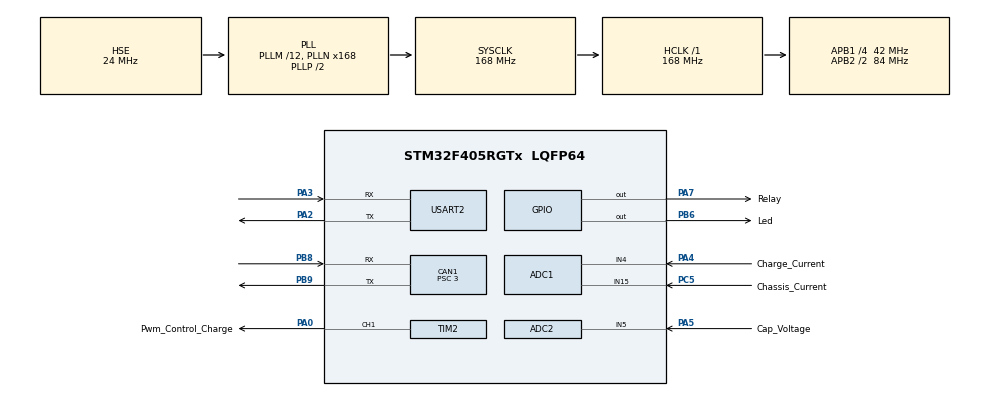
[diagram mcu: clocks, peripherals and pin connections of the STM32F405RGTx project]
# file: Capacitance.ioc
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ADC1.Channel-0\#ChannelRegularConversion=ADC_CHANNEL_4
ADC1.Channel-1\#ChannelRegularConversion=ADC_CHANNEL_15
ADC1.ClockPrescaler=ADC_CLOCK_SYNC_PCLK_DIV4
ADC1.ContinuousConvMode=DISABLE
ADC1.DMAContinuousRequests=ENABLE
ADC1.ExternalTrigConv=ADC_EXTERNALTRIGCONV_T3_TRGO
ADC1.NbrOfConversion=2
ADC1.NbrOfConversionFlag=1
ADC1.Rank-0\#ChannelRegularConversion=1
ADC1.Rank-1\#ChannelRegularConversion=2
ADC1.SamplingTime-0\#ChannelRegularConversion=ADC_SAMPLETIME_15CYCLES
ADC1.SamplingTime-1\#ChannelRegularConversion=ADC_SAMPLETIME_15CYCLES
ADC1.ScanConvMode=ENABLE
ADC1.master=1
ADC2.Channel-0\#ChannelRegularConversion=ADC_CHANNEL_5
ADC2.ClockPrescaler=ADC_CLOCK_SYNC_PCLK_DIV4
ADC2.DMAContinuousRequests=ENABLE
ADC2.ExternalTrigConv=ADC_EXTERNALTRIGCONV_T8_TRGO
ADC2.NbrOfConversionFlag=1
ADC2.Rank-0\#ChannelRegularConversion=1
ADC2.SamplingTime-0\#ChannelRegularConversion=ADC_SAMPLETIME_15CYCLES
ADC2.ScanConvMode=ENABLE
CAN1.ABOM=ENABLE
CAN1.BS1=CAN_BS1_11TQ
CAN1.BS2=CAN_BS2_2TQ
CAN1.CalculateTimeQuantum=71.42857142857143
CAN1.Prescaler=3
Dma.ADC1.0.Direction=DMA_PERIPH_TO_MEMORY
Dma.ADC1.0.FIFOMode=DMA_FIFOMODE_DISABLE
Dma.ADC1.0.Instance=DMA2_Stream0
Dma.ADC1.0.MemDataAlignment=DMA_MDATAALIGN_HALFWORD
Dma.ADC1.0.MemInc=DMA_MINC_ENABLE
Dma.ADC1.0.Mode=DMA_CIRCULAR
Dma.ADC1.0.PeriphDataAlignment=DMA_PDATAALIGN_HALFWORD
Dma.ADC1.0.PeriphInc=DMA_PINC_DISABLE
Dma.ADC1.0.Priority=DMA_PRIORITY_VERY_HIGH
Dma.ADC2.1.Direction=DMA_PERIPH_TO_MEMORY
Dma.ADC2.1.FIFOMode=DMA_FIFOMODE_DISABLE
Dma.ADC2.1.Instance=DMA2_Stream2
Dma.ADC2.1.MemDataAlignment=DMA_MDATAALIGN_HALFWORD
Dma.ADC2.1.MemInc=DMA_MINC_ENABLE
Dma.ADC2.1.Mode=DMA_CIRCULAR
Dma.ADC2.1.PeriphDataAlignment=DMA_PDATAALIGN_HALFWORD
Dma.ADC2.1.PeriphInc=DMA_PINC_DISABLE
Dma.ADC2.1.Priority=DMA_PRIORITY_VERY_HIGH
Dma.Request0=ADC1
Dma.Request1=ADC2
Mcu.Family=STM32F4
Mcu.Name=STM32F405RGTx
Mcu.Package=LQFP64
NVIC.ADC_IRQn=true\:0\:0\:false\:false\:true\:true\:true
NVIC.CAN1_RX0_IRQn=true\:0\:0\:false\:false\:true\:true\:true
NVIC.CAN1_TX_IRQn=true\:0\:0\:false\:false\:true\:true\:true
NVIC.DMA2_Stream0_IRQn=true\:0\:0\:false\:false\:true\:false\:true
NVIC.DMA2_Stream2_IRQn=true\:0\:0\:false\:false\:true\:false\:true
NVIC.PriorityGroup=NVIC_PRIORITYGROUP_4
NVIC.TIM2_IRQn=true\:0\:0\:false\:false\:true\:true\:true
NVIC.TIM3_IRQn=true\:0\:0\:false\:false\:true\:true\:true
NVIC.TIM6_DAC_IRQn=true\:0\:0\:false\:false\:true\:true\:true
NVIC.TIM8_UP_TIM13_IRQn=true\:0\:0\:false\:false\:true\:true\:true
NVIC.USART2_IRQn=true\:0\:0\:false\:false\:true\:true\:true
PA0-WKUP.GPIO_Label=Pwm_Control_Charge
PA0-WKUP.GPIO_Speed=GPIO_SPEED_FREQ_VERY_HIGH
PA0-WKUP.Signal=S_TIM2_CH1_ETR
PA13.Mode=Serial_Wire
PA13.Signal=SYS_JTMS-SWDIO
PA14.Mode=Serial_Wire
PA14.Signal=SYS_JTCK-SWCLK
PA2.Mode=Asynchronous
PA2.Signal=USART2_TX
PA3.Mode=Asynchronous
PA3.Signal=USART2_RX
PA4.GPIO_Label=Charge_Current
PA4.Signal=ADCx_IN4
PA5.GPIO_Label=Cap_Voltage
PA5.Signal=ADCx_IN5
PA7.GPIO_Label=Relay
PA7.Signal=GPIO_Output
PB6.GPIO_Label=Led
PB6.Signal=GPIO_Output
PB8.Mode=Master
PB8.Signal=CAN1_RX
PB9.Mode=Master
PB9.Signal=CAN1_TX
PC5.GPIO_Label=Chassis_Current
PC5.Signal=ADCx_IN15
PH0-OSC_IN.Mode=HSE-External-Oscillator
PH0-OSC_IN.Signal=RCC_OSC_IN
PH1-OSC_OUT.Mode=HSE-External-Oscillator
PH1-OSC_OUT.Signal=RCC_OSC_OUT
ProjectManager.HeapSize=0x200
ProjectManager.StackSize=0x400
ProjectManager.TargetToolchain=MDK-ARM V5
RCC.48MHZClocksFreq_Value=84000000
RCC.AHBFreq_Value=168000000
RCC.APB1CLKDivider=RCC_HCLK_DIV4
RCC.APB1Freq_Value=42000000
RCC.APB1TimFreq_Value=84000000
RCC.APB2CLKDivider=RCC_HCLK_DIV2
RCC.APB2Freq_Value=84000000
RCC.APB2TimFreq_Value=168000000
RCC.CortexFreq_Value=168000000
RCC.HCLKFreq_Value=168000000
RCC.HSE_VALUE=24000000
RCC.HSI_VALUE=16000000
RCC.LSE_VALUE=32768
RCC.PLLM=12
RCC.PLLN=168
RCC.PLLSourceVirtual=RCC_PLLSOURCE_HSE
RCC.SYSCLKFreq_VALUE=168000000
RCC.SYSCLKSource=RCC_SYSCLKSOURCE_PLLCLK
RCC.VCOOutputFreq_Value=336000000
SH.ADCx_IN15.0=ADC1_IN15,IN15
SH.ADCx_IN4.0=ADC1_IN4,IN4
SH.ADCx_IN5.0=ADC2_IN5,IN5
SH.S_TIM2_CH1_ETR.0=TIM2_CH1,PWM Generation1 CH1
TIM2.Channel-PWM\ Generation1\ CH1=TIM_CHANNEL_1
TIM2.Period=8399
TIM2.Prescaler=0
TIM2.TIM_MasterOutputTrigger=TIM_TRGO_UPDATE
TIM3.AutoReloadPreload=TIM_AUTORELOAD_PRELOAD_DISABLE
TIM3.Period=279
TIM3.Prescaler=0
TIM3.TIM_MasterOutputTrigger=TIM_TRGO_UPDATE
TIM6.Period=9999
TIM6.Prescaler=8399
TIM6.TIM_MasterOutputTrigger=TIM_TRGO_RESET
TIM8.Period=9999
TIM8.Prescaler=167
TIM8.TIM_MasterOutputTrigger=TIM_TRGO_UPDATE
USART2.VirtualMode=VM_ASYNC
VP_TIM2_VS_ClockSourceINT.Mode=Internal
VP_TIM3_VS_ClockSourceINT.Mode=Internal
VP_TIM6_VS_ClockSourceINT.Mode=Enable_Timer
VP_TIM8_VS_ClockSourceINT.Mode=Internal
board=custom

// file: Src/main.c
/* USER CODE BEGIN Header */
/**
  ******************************************************************************
  * @file           : main.c
  * @brief          : Main program body
  ******************************************************************************
  * @attention
  *
  * <h2><center>&copy; Copyright (c) 2019 STMicroelectronics.
  * All rights reserved.</center></h2>
  *
  * This software component is licensed by ST under BSD 3-Clause license,
  * the "License"; You may not use this file except in compliance with the
  * License. You may obtain a copy of the License at:
  *                        opensource.org/licenses/BSD-3-Clause
  *
  ******************************************************************************
  */
/* USER CODE END Header */

#include "main.h"
#include "adc.h"
#include "can.h"
#include "dma.h"
#include "tim.h"
#include "usart.h"
#include "gpio.h"

/* USER CODE BEGIN Includes */
#include "bsp_can.h"
#include "bsp_uart.h"
#include "stdio.h"
#include "cap_Ctrl.h"
/* USER CODE END Includes */

/* USER CODE BEGIN PTD */
OFFLINE_COUNT_STRUCT FPS;

/* USER CODE END PTD */

void SystemClock_Config(void);

int main(void)
{

  /* MCU Configuration--------------------------------------------------------*/

  /* Reset of all peripherals, Initializes the Flash interface and the Systick. */
  HAL_Init();

  /* Configure the system clock */
  SystemClock_Config();

  /* Initialize all configured peripherals */
  MX_GPIO_Init();
  MX_DMA_Init();
  MX_USART2_UART_Init();
  MX_ADC1_Init();
  MX_TIM2_Init();
  MX_TIM3_Init();
  MX_CAN1_Init();
  MX_TIM6_Init();
  MX_ADC2_Init();
  MX_TIM8_Init();
  /* USER CODE BEGIN 2 */
	/* config the relay */
	HAL_GPIO_WritePin(Relay_GPIO_Port, Relay_Pin, GPIO_PIN_SET);
//
	MY_CAN1_ENABLE();
	MY_UART_INIT();

	/* cap info init */
	CapInfo_Init();

	/* start the timer */
	HAL_TIM_Base_Start_IT(&htim2);
	HAL_TIM_Base_Start_IT(&htim3);
	HAL_TIM_Base_Start_IT(&htim6);
	HAL_TIM_Base_Start_IT(&htim8);
  HAL_TIM_PWM_Start(&htim2, TIM_CHANNEL_1); // beep
//
//	/* start the dma of adc1 */
	HAL_ADC_Start_DMA(&hadc2, (uint32_t*) cap_info.adc2_rx_buff, 1);
	HAL_ADC_Start_DMA(&hadc1, (uint32_t*) cap_info.adc1_rx_buff, 2);

  /* USER CODE END 2 */

  /* Infinite loop */
  while (1)
  {

    /* USER CODE BEGIN 3 */
		//HAL_GPIO_TogglePin(Led_GPIO_Port, Led_Pin);
		HAL_Delay(1000);
		//printf("/************ System Running Well! *****************/\r\n");
  }
  /* USER CODE END 3 */
}

void SystemClock_Config(void)
{
  RCC_OscInitTypeDef RCC_OscInitStruct = {0};
  RCC_ClkInitTypeDef RCC_ClkInitStruct = {0};

  /** Configure the main internal regulator output voltage
  */
  __HAL_RCC_PWR_CLK_ENABLE();
  __HAL_PWR_VOLTAGESCALING_CONFIG(PWR_REGULATOR_VOLTAGE_SCALE1);
  /** Initializes the CPU, AHB and APB busses clocks
  */
  RCC_OscInitStruct.OscillatorType = RCC_OSCILLATORTYPE_HSE;
  RCC_OscInitStruct.HSEState = RCC_HSE_ON;
  RCC_OscInitStruct.PLL.PLLState = RCC_PLL_ON;
  RCC_OscInitStruct.PLL.PLLSource = RCC_PLLSOURCE_HSE;
  RCC_OscInitStruct.PLL.PLLM = 12;
  RCC_OscInitStruct.PLL.PLLN = 168;
  RCC_OscInitStruct.PLL.PLLP = RCC_PLLP_DIV2;
  RCC_OscInitStruct.PLL.PLLQ = 4;
  if (HAL_RCC_OscConfig(&RCC_OscInitStruct) != HAL_OK)
  {
    Error_Handler();
  }
  /** Initializes the CPU, AHB and APB busses clocks
  */
  RCC_ClkInitStruct.ClockType = RCC_CLOCKTYPE_HCLK|RCC_CLOCKTYPE_SYSCLK
                              |RCC_CLOCKTYPE_PCLK1|RCC_CLOCKTYPE_PCLK2;
  RCC_ClkInitStruct.SYSCLKSource = RCC_SYSCLKSOURCE_PLLCLK;
  RCC_ClkInitStruct.AHBCLKDivider = RCC_SYSCLK_DIV1;
  RCC_ClkInitStruct.APB1CLKDivider = RCC_HCLK_DIV4;
  RCC_ClkInitStruct.APB2CLKDivider = RCC_HCLK_DIV2;

  if (HAL_RCC_ClockConfig(&RCC_ClkInitStruct, FLASH_LATENCY_5) != HAL_OK)
  {
    Error_Handler();
  }
}

void Error_Handler(void)
{
}

/************************ (C) COPYRIGHT STMicroelectronics *****END OF FILE****/
